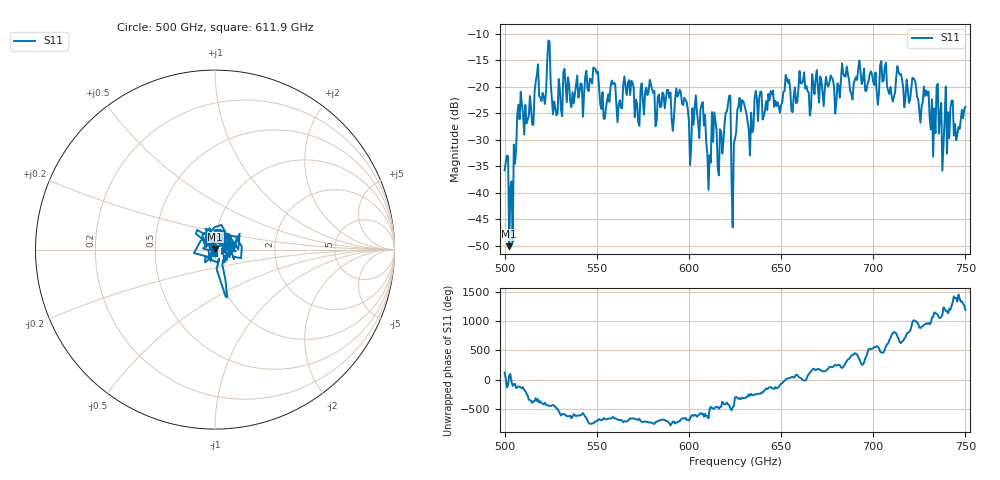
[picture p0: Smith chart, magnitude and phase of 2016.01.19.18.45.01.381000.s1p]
!Created with skrf (http://scikit-rf.org).
# GHz S RI R 50.0
!freq ReS11 ImS11
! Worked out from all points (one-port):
!   401 points, 500 GHz to 750 GHz, reference 50 ohm
!   lowest |S11| = -50.1 dB at 502.5 GHz (marker M1), VSWR 1.01, Z = 50.1 + j0.302 ohm
!   |S11| at or under -10 dB: start of sweep to end of sweep
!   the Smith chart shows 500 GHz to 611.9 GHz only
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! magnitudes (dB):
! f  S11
! 500 GHz  -35.7
! 502.5 GHz  -50.1
! 503.8 GHz  -37.8
! 508.1 GHz  -26.1
! 521.2 GHz  -21.9
! 523.8 GHz  -11.2
! 527.5 GHz  -24.0
! 531.2 GHz  -25.5
! 549.4 GHz  -16.7
! 553.1 GHz  -21.0
! 558.8 GHz  -19.5
! 562.5 GHz  -22.5
! 593.8 GHz  -21.8
! 601.2 GHz  -30.9
! 607.5 GHz  -22.9
! 610.6 GHz  -39.4
! 613.8 GHz  -24.8
! 616.9 GHz  -28.0
! 621.2 GHz  -23.1
! 625 GHz  -29.8
! 628.1 GHz  -24.6
! 633.8 GHz  -24.8
! 637.5 GHz  -26.4
! 656.2 GHz  -24.8
! 687.5 GHz  -20.8
! 718.8 GHz  -20.5
! 738.8 GHz  -25.9
! 750 GHz  -23.8
